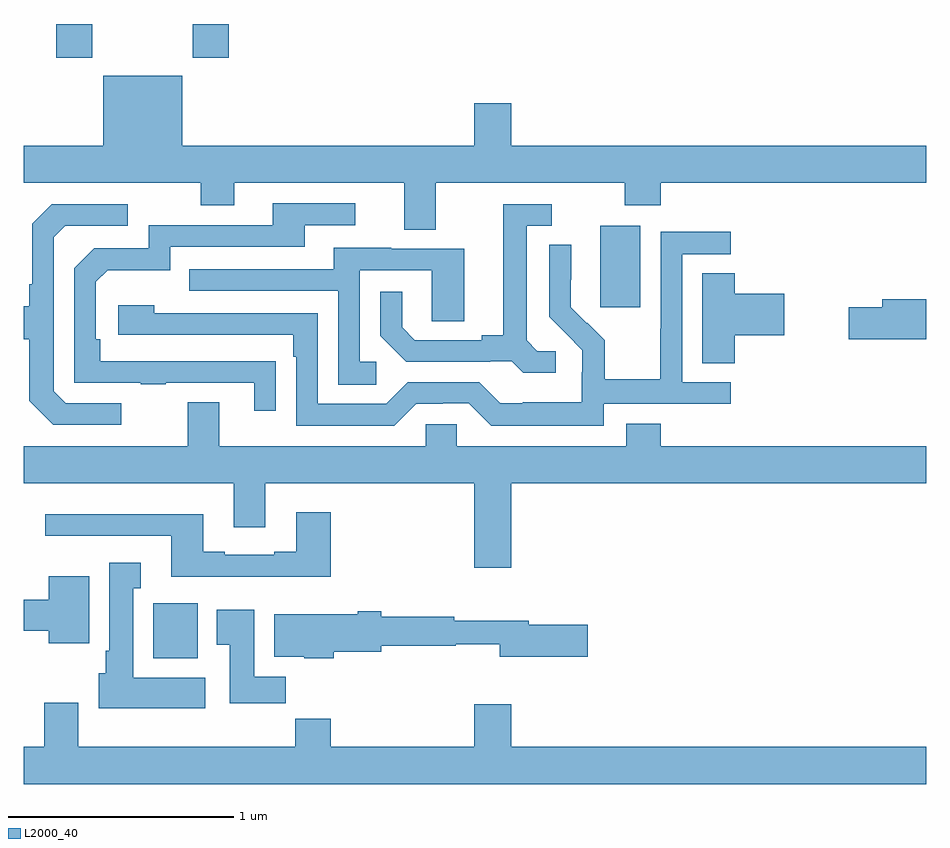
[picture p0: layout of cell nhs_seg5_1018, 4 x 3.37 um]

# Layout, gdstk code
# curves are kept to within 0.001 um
import gdstk
lib = gdstk.Library(unit=1e-6, precision=1e-09)
def R(c, l, rs):  # rectangles x0, y0, x1, y1
    for r in rs: c.add(gdstk.rectangle(r[:2], r[2:], *l))
def P(c, l, *ps):  # polygons
    for p in ps: c.add(gdstk.Polygon(p, *l))
L2000_40 = (2000, 40)

nhs_seg5_1018 = lib.new_cell('nhs_seg5_1018')
R(nhs_seg5_1018, L2000_40, [(175.574,851.99,175.771,852.232), (177.554,853.545,177.733,853.906), (175.145,854.649,175.305,854.799), (175.75,854.649,175.91,854.799)])
P(nhs_seg5_1018, L2000_40, [(175.702,854.569),(175.352,854.569),(175.352,854.26),(175,854.26),(175,854.096),(175.786,854.096),(175.786,853.997),(175.933,853.997),(175.933,854.096),(176.687,854.096),(176.687,853.888),(176.827,853.888),(176.827,854.096),(177.664,854.096),(177.664,853.997),(177.824,853.997),(177.824,854.096),(179,854.096),(179,854.26),(177.16,854.26),(177.16,854.449),(176.996,854.449),(176.996,854.26),(175.702,854.26)],
  [(176.117,853.304),(175.34,853.305),(175.34,853.402),(175.32,853.402),(175.32,853.656),(175.373,853.709),(175.65,853.709),(175.65,853.812),(176.245,853.812),(176.245,853.908),(176.47,853.908),(176.47,854.004),(176.105,854.004),(176.105,853.908),(175.554,853.908),(175.554,853.806),(175.314,853.806),(175.224,853.716),(175.224,853.209),(175.519,853.209),(175.519,853.204),(175.631,853.204),(175.631,853.209),(176.021,853.209),(176.021,853.086),(176.117,853.086)],
  [(175.432,853.119),(175.188,853.119),(175.134,853.173),(175.134,853.854),(175.185,853.905),(175.462,853.905),(175.462,854.001),(175.125,854.001),(175.038,853.914),(175.038,853.645),(175.026,853.645),(175.026,853.549),(175,853.549),(175,853.402),(175.026,853.402),(175.026,853.129),(175.131,853.023),(175.432,853.023)],
  [(177.358,853.35),(177.276,853.35),(177.229,853.397),(177.229,853.905),(177.34,853.905),(177.34,854.001),(177.125,854.001),(177.125,853.421),(177.029,853.421),(177.029,853.398),(176.734,853.398),(176.677,853.455),(176.677,853.612),(176.58,853.612),(176.58,853.418),(176.696,853.302),(177.068,853.302),(177.068,853.305),(177.162,853.305),(177.214,853.253),(177.358,853.253)],
  [(177.57,853.116),(178.132,853.116),(178.132,853.212),(177.918,853.212),(177.918,853.779),(178.132,853.779),(178.132,853.878),(177.822,853.878),(177.822,853.448),(177.82,853.448),(177.82,853.225),(177.575,853.225),(177.575,853.399),(177.498,853.476),(177.495,853.473),(177.425,853.544),(177.426,853.82),(177.33,853.82),(177.33,853.502),(177.476,853.354),(177.476,853.257),(177.474,853.257),(177.474,853.123),(177.211,853.123),(177.211,853.119),(177.111,853.119),(177.018,853.212),(176.703,853.212),(176.607,853.116),(176.304,853.116),(176.304,853.518),(175.58,853.518),(175.58,853.552),(175.419,853.552),(175.419,853.422),(176.195,853.422),(176.195,853.325),(176.208,853.325),(176.208,853.02),(176.643,853.02),(176.739,853.116),(176.858,853.116),(176.858,853.119),(176.973,853.119),(177.073,853.019),(177.57,853.019)],
  [(176.563,853.302),(176.49,853.302),(176.49,853.707),(176.808,853.707),(176.808,853.483),(176.953,853.483),(176.953,853.803),(176.629,853.803),(176.629,853.807),(176.375,853.807),(176.375,853.713),(175.735,853.713),(175.735,853.617),(176.394,853.617),(176.394,853.201),(176.563,853.201)],
  [(178.151,853.421),(178.369,853.421),(178.369,853.604),(178.151,853.604),(178.151,853.694),(178.007,853.694),(178.007,853.297),(178.151,853.297)],
  [(179,853.58),(178.805,853.58),(178.805,853.544),(178.656,853.544),(178.656,853.402),(179,853.402)],
  [(177.16,852.764),(179,852.764),(179,852.928),(177.824,852.928),(177.824,853.027),(177.671,853.027),(177.671,852.928),(176.919,852.928),(176.919,853.026),(176.781,853.026),(176.781,852.928),(175.867,852.928),(175.867,853.123),(175.727,853.123),(175.727,852.928),(175,852.928),(175,852.764),(175.931,852.764),(175.931,852.57),(176.071,852.57),(176.071,852.764),(176.996,852.764),(176.996,852.39),(177.16,852.39)],
  [(176.36,852.637),(176.207,852.637),(176.207,852.46),(176.111,852.46),(176.111,852.447),(175.891,852.447),(175.891,852.46),(175.795,852.46),(175.795,852.628),(175.095,852.628),(175.095,852.531),(175.655,852.531),(175.655,852.35),(176.36,852.35)],
  [(175.804,851.902),(175.486,851.902),(175.486,852.299),(175.519,852.299),(175.519,852.412),(175.379,852.412),(175.379,852.022),(175.364,852.022),(175.364,851.922),(175.334,851.922),(175.334,851.768),(175.804,851.768)],
  [(175.291,852.352),(175.112,852.352),(175.112,852.248),(175,852.248),(175,852.112),(175.112,852.112),(175.112,852.056),(175.291,852.056)],
  [(176.162,851.908),(176.023,851.908),(176.023,852.205),(175.856,852.205),(175.856,852.049),(175.913,852.049),(175.913,851.79),(176.162,851.79)],
  [(176.375,852.019),(176.584,852.019),(176.584,852.045),(176.914,852.045),(176.914,852.052),(177.11,852.052),(177.11,851.995),(177.499,851.995),(177.499,852.137),(177.238,852.137),(177.238,852.156),(176.907,852.156),(176.907,852.173),(176.584,852.173),(176.584,852.197),(176.48,852.197),(176.48,852.184),(176.111,852.184),(176.111,851.996),(176.244,851.996),(176.244,851.99),(176.375,851.99)],
  [(179,851.596),(177.16,851.596),(177.16,851.785),(176.996,851.785),(176.996,851.596),(176.36,851.596),(176.36,851.72),(176.203,851.72),(176.203,851.596),(175.243,851.596),(175.243,851.791),(175.091,851.791),(175.091,851.596),(175,851.596),(175,851.432),(179,851.432)])

lib.write_gds('nhs_seg5_1018.gds')
